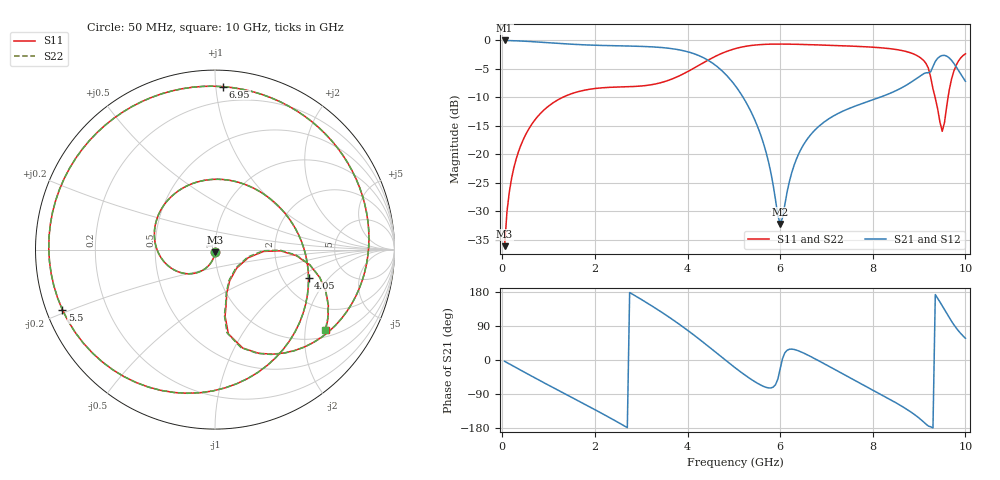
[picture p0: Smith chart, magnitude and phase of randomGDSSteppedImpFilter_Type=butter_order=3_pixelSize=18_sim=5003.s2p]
! freq	dB(S11)	phase(S11)	dB(S12)	phase(S12)
!  dB(S21)	phase(S21)	dB(S22)	phase(S22)
!S-par simulation data
#  GHz  S  DB  R 50
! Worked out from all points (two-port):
!   200 points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, 50 MHz to 10 GHz, reference 50 ohm
!   highest |S21| = -0.01 dB at 50 MHz (marker M1); lowest = -32.3 dB at 6 GHz (marker M2)
!   |S21| within 3 dB of the highest: start of sweep to 4.335 GHz; 9.421 GHz to 9.64 GHz (219 MHz wide, 2.3 % of centre)
!   lowest |S11| = -36.2 dB at 50 MHz (marker M3), VSWR 1.03, Z = 49.9 - j1.55 ohm
!   |S11| at or under -10 dB: start of sweep to 1.305 GHz; 9.346 GHz to 9.626 GHz (280.4 MHz wide, 2.96 % of centre)
!   |S22| runs from -36.2 to -0.6 dB; largest |S21 - S12| = 0
!   S11 on the Smith chart (normalised r, x): 50 MHz: 1.00, -0.03; 4.05 GHz: 2.76, -1.25; 5.5 GHz: 0.05, -0.19; 6.95 GHz: 0.10, +1.05; 10 GHz: 1.20, -2.57
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0.05  -36.17 -92.8  -0.01 -3.4  -0.01 -3.4  -36.17 -92.8
0.2  -24.27 -103.5  -0.04 -13.6  -0.04 -13.6  -24.27 -103.5
0.5  -16.63 -124.0  -0.14 -33.7  -0.14 -33.7  -16.63 -124.1
1.1  -10.95 -163.6  -0.46 -73.0  -0.46 -73.0  -10.95 -163.6
1.75  -8.79 154.6  -0.77 -114.9  -0.77 -114.9  -8.79 154.6
2.65  -8.16 94.7  -0.97 -174.9  -0.97 -174.9  -8.16 94.7
3.4  -7.48 39.0  -1.22 129.4  -1.22 129.4  -7.48 38.9
4.05  -5.27 -16.9  -2.10 74.0  -2.10 74.0  -5.28 -17.0
4.55  -3.01 -65.6  -4.05 26.1  -4.05 26.1  -3.01 -65.6
5.05  -1.40 -115.9  -8.17 -22.5  -8.17 -22.5  -1.40 -115.9
5.5  -0.78 -158.5  -14.89 -60.7  -14.89 -60.7  -0.78 -158.4
6  -0.64 158.8  -32.28 -23.8  -32.28 -23.8  -0.64 158.9
6.3  -0.67 135.1  -21.97 27.8  -21.97 27.8  -0.67 135.2
6.7  -0.76 105.1  -16.19 6.6  -16.19 6.6  -0.76 105.2
6.95  -0.83 87.2  -14.34 -9.8  -14.34 -9.8  -0.83 87.2
7.7  -1.06 36.3  -11.30 -59.5  -11.30 -59.5  -1.06 36.3
8.35  -1.43 -5.4  -9.38 -102.5  -9.38 -102.5  -1.43 -5.5
9.05  -3.18 -56.1  -6.09 -158.3  -6.09 -158.3  -3.20 -56.7
9.4  -11.98 -74.9  -3.15 163.1  -3.15 163.1  -12.11 -75.3
9.5  -15.97 -40.6  -2.65 143.0  -2.65 143.0  -16.22 -40.4
9.65  -8.77 -1.1  -3.06 112.1  -3.06 112.1  -8.81 -0.5
10  -2.35 -36.1  -7.19 57.3  -7.19 57.3  -2.37 -36.2
